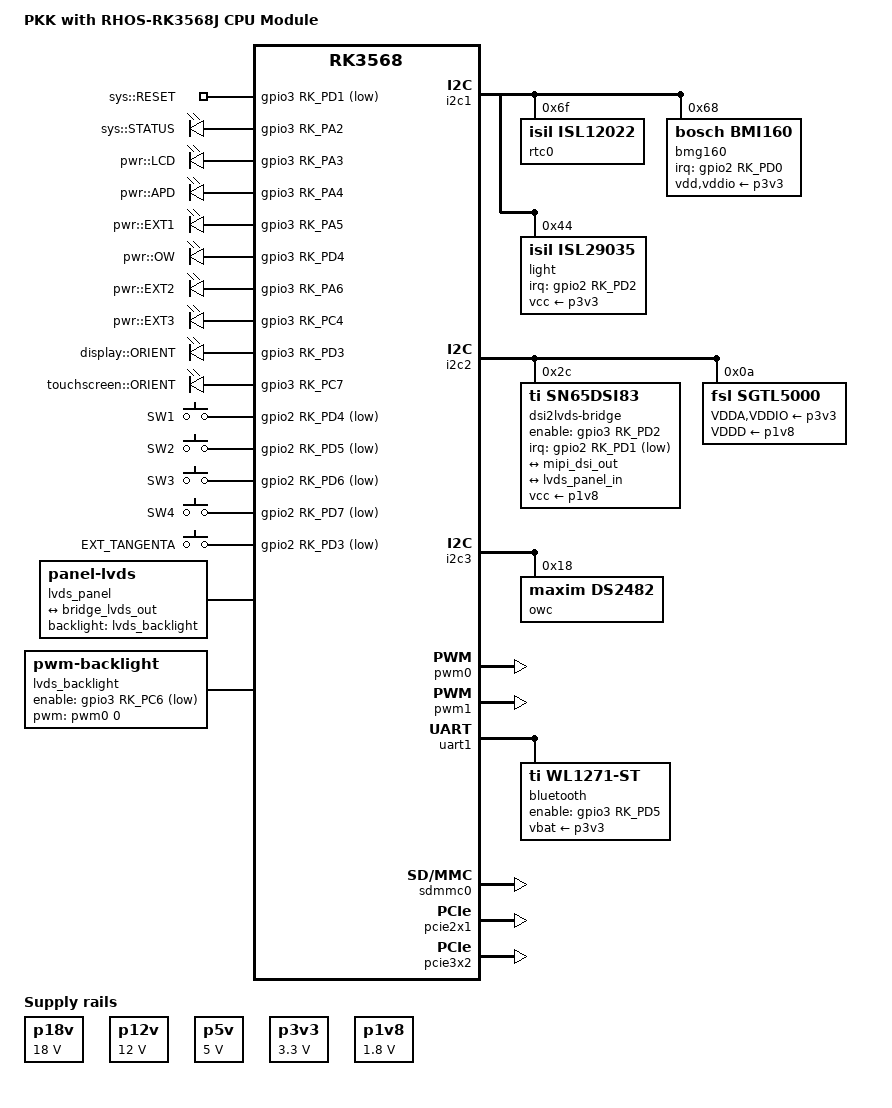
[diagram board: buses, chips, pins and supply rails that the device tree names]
// SPDX-License-Identifier: (GPL-2.0 OR MIT)
/*
 * Copyright (C) 2022 Radioavionica Corp., Alex A. Mihaylov <minimumlaw@rambler.ru>
 */

/dts-v1/;

#include "dt-bindings/input/input.h"
#include "rk3568-rhos.dtsi"

/ {
	model = "PKK with RHOS-RK3568J CPU Module";
	compatible = "ravion,pkk", "ravion,rk3568-rhos", "rockchip,rk3568";

	chosen {
		stdout-path = "serial2:115200n8";
	};

	p18v: regulator-p18v {
		compatible = "regulator-fixed";
		regulator-name = "p18v";
		regulator-min-microvolt = <18000000>;
		regulator-max-microvolt = <18000000>;
		regulator-always-on;
	};

	p12v: regulator-p12v {
		compatible = "regulator-fixed";
		regulator-name = "p12v";
		regulator-min-microvolt = <12000000>;
		regulator-max-microvolt = <12000000>;
		regulator-always-on;
	};

	p5v: regulator-p5v {
		compatible = "regulator-fixed";
		regulator-name = "p5v";
		regulator-min-microvolt = <5000000>;
		regulator-max-microvolt = <5000000>;
		regulator-always-on;
	};

	p3v3: regulator-p3v3 {
		compatible = "regulator-fixed";
		regulator-name = "p3v3";
		regulator-min-microvolt = <3300000>;
		regulator-max-microvolt = <3300000>;
		regulator-always-on;
	};

	p1v8: regulator-p1v8 {
		compatible = "regulator-fixed";
		regulator-name = "p1v8";
		regulator-min-microvolt = <1800000>;
		regulator-max-microvolt = <1800000>;
		regulator-always-on;
	};

	gpio-leds {
		compatible = "gpio-leds";

		sys_rst {
			label = "sys::RESET";
			gpios = <&gpio3 RK_PD1 GPIO_ACTIVE_LOW>;	/* soDimm165 */
			default-state = "off";
		};

		status {
			label = "sys::STATUS";
			gpios = <&gpio3 RK_PA2 GPIO_ACTIVE_HIGH>;	/* soDimm164 */
			default-state = "on";
		};

		pwr_lcd {
			label = "pwr::LCD";
			gpios = <&gpio3 RK_PA3 GPIO_ACTIVE_HIGH>;	/* soDimm166 */
			default-state = "on";
		};

		pwr_apd {
			label = "pwr::APD";
			gpios = <&gpio3 RK_PA4 GPIO_ACTIVE_HIGH>;	/* soDimm168 */
			default-state = "on";
		};

		pwr_ext1 {
			label = "pwr::EXT1";
			gpios = <&gpio3 RK_PA5 GPIO_ACTIVE_HIGH>;	/* soDimm170 */
			default-state = "on";
		};

		pwr_ow {
			label = "pwr::OW";
			gpios = <&gpio3 RK_PD4 GPIO_ACTIVE_HIGH>;	/* soDimm171 */
			default-state = "on";
		};

		pwr_ext2 {
			label = "pwr::EXT2";
			gpios = <&gpio3 RK_PA6 GPIO_ACTIVE_HIGH>;	/* soDimm172 */
			default-state = "on";
		};

		pwr_ext3 {
			label = "pwr::EXT3";
			gpios = <&gpio3 RK_PC4 GPIO_ACTIVE_HIGH>;	/* soDimm174 */
			default-state = "on";
		};

		disp_orient {
			label = "display::ORIENT";
			gpios = <&gpio3 RK_PD3 GPIO_ACTIVE_HIGH>;	/* soDimm169 */
			default-state = "off";
		};

		ts_orient {
			label = "touchscreen::ORIENT";
			gpios = <&gpio3 RK_PC7 GPIO_ACTIVE_HIGH>;	/* soDimm177 */
			default-state = "on";
		};
	};

	gpio-keys {
		compatible = "gpio-keys";

		sw1-key {
			label = "SW1";
			gpios = <&gpio2 RK_PD4 GPIO_ACTIVE_LOW>;	/* soDimm154 */
			linux,code = <KEY_F1>;
			debounce-interval = <25>;
			wakeup-source;
		};

		sw2-key {
			label = "SW2";
			gpios = <&gpio2 RK_PD5 GPIO_ACTIVE_LOW>;	/* soDimm156 */
			linux,code = <KEY_F2>;
			debounce-interval = <25>;
			wakeup-source;
		};

		sw3-key {
			label = "SW3";
			gpios = <&gpio2 RK_PD6 GPIO_ACTIVE_LOW>;	/* soDimm158 */
			linux,code = <KEY_F3>;
			debounce-interval = <25>;
			wakeup-source;
		};

		sw4-key {
			label = "SW4";
			gpios = <&gpio2 RK_PD7 GPIO_ACTIVE_LOW>;	/* soDimm160 */
			linux,code = <KEY_F4>;
			debounce-interval = <25>;
			wakeup-source;
		};

		ext-tng-key {
			label = "EXT_TANGENTA";
			gpios = <&gpio2 RK_PD3 GPIO_ACTIVE_LOW>;	/* soDimm152 */
			linux,code = <KEY_F5>;
			debounce-interval = <25>;
			wakeup-source;
		};
	};

	/* Mitsubishi AA070TA01ADA11 LVDS display panel
	 *********************************************/
	lvds_panel {
		compatible = "panel-lvds";
		backlight = <&lvds_backlight>;
		data-mapping = "jeida-24";

		width-mm = <152>;
		height-mm = <91>;

		/*
		 * FixMe: DENA active high, h(f+b+l)=32, v(f+b+l)=30 @ 62.8MHz by spec,
		 *        but NOT work in out module! Fix polarity and recalculate.
		 */
		panel-timing {
			clock-frequency = <62503680>;
			hactive	= <1280>;
			vactive	= <768>;
			hfront-porch	= <18>;
			hsync-len	= <8>;
			hback-porch	= <6>;
			vfront-porch	= <8>;
			vsync-len	= <9>;
			vback-porch	= <9>;
			de-active	= <0>;
		};

		port {
			lvds_panel_in: endpoint {
				remote-endpoint = <&bridge_lvds_out>;
			};
		};
	};

	lvds_backlight: backlight {
		compatible = "pwm-backlight";
		enable-gpios = <&gpio3 RK_PC6 GPIO_ACTIVE_LOW>;	/* soDimm175 */
		pwms = <&pwm0 0 100000 0>; /* FixMe: frequency !!! */
		brightness-levels = <0 25 51 76 102 127 153 178 204 229 255>;
		default-brightness-level = <8>;
		status = "okay";
	};

	soundcard@0 {
		compatible = "simple-audio-card";
		simple-audio-card,name = "RHOS IMX8MQ SGTL5000";
		simple-audio-card,format = "i2s";
		simple-audio-card,bitclock-master = <&dailink0_master>;
		simple-audio-card,frame-master = <&dailink0_master>;


		simple-audio-card,cpu {
			sound-dai = <&i2s2_2ch 0>;
		};

		dailink0_master:
		simple-audio-card,codec {
			sound-dai = <&sgtl5000 0>;
		};
	};

};

&dsi1_out {
	mipi_dsi_out: endpoint {
		remote-endpoint = <&bridge_dsi_in>;
		clock-lanes = <0>;
		data-lanes = <1 2 3 4>;
	};
};

&i2c1 {
	status = "okay";
	#address-cells = <1>;
	#size-cells = <0>;

	rtc0: rtc@6f { /* ISL12020: I2C Real Time Clock (battery backup) */
		compatible = "isil,isl12022";
		reg = <0x6f>;
	};

	bmg160@68 { /* FixMe: address 0x68 already in use by CPU module clock generator */
		compatible = "bosch,bmi160";
		reg = <0x68>;
		vdd-supply = <&p3v3>;
		vddio-supply = <&p3v3>;
		interrupt-parent = <&gpio2>;
		interrupts = <RK_PD0 (IRQ_TYPE_EDGE_RISING)>;	/* soDimm146 */
		interrupt-names = "INT1";
	};

	light@44 {
		compatible = "isil,isl29035";
		vcc-supply = <&p3v3>;
		reg = <0x44>;
		interrupt-parent = <&gpio2>;
		interrupts = <RK_PD2 (IRQ_TYPE_EDGE_RISING)>;	/* soDimm150 */
	};
};

&i2c2 {
	dsi2lvds-bridge@2c {
		compatible = "ti,sn65dsi83";
		reg = <0x2c>;
		enable-gpios = <&gpio3 RK_PD2 GPIO_ACTIVE_HIGH>;	/* soDimm167 */
		irq-gpios = <&gpio2 RK_PD1 GPIO_ACTIVE_LOW >;		/* soDimm148 <- NOT USED */
		vcc-supply = <&p1v8>;
		status = "okay";

		ports {
			#address-cells = <1>;
			#size-cells = <0>;
			port@0 {
				reg = <0>;
				bridge_dsi_in: endpoint {
					clock-lanes = <0>;
					data-lanes = <1 2 3 4>;
					remote-endpoint = <&mipi_dsi_out>;
				};
			};

			port@2 {
				reg = <2>;
				bridge_lvds_out: endpoint {
					remote-endpoint = <&lvds_panel_in>;
				};
			};
		};
	};

	sgtl5000: codec@a {
		compatible = "fsl,sgtl5000";
		reg = <0xa>;
		#sound-dai-cells = <0>;
		pinctrl-names = "default";
		pinctrl-0 = <&refclk_pins>;	/* soDimm140 and soDimm142 as MCLK - 24MHz default */
		clocks = <&pmucru CLK_WIFI>;
		VDDA-supply = <&p3v3>;		/* +3.3VA is drosseled +3.3V */
		VDDIO-supply = <&p3v3>;
		VDDD-supply = <&p1v8>;
		status = "okay";
	};
};


&i2c3 {
	owc: ds2482@18 { /* DS2484: I2C to OneWire Converter */
		status = "okay";
		compatible = "maxim,ds2482";
		reg = <0x18>;
	};
};

/* PWMs
 *****/
&pwm0 {		status = "okay";	};
&pwm1 {		status = "okay";	};

/* Bluetooth interface
 ********************/
&uart1 {
	status = "okay";

	bluetooth { /* DD19: CC2564CRVM - XP36 setup, or COM3 connector */
		compatible = "ti,wl1271-st";
		enable-gpios = <&gpio3 RK_PD5 GPIO_ACTIVE_HIGH>;	/* soDimm173 */
		vbat-supply = <&p3v3>;
		clocks = <&clk_32k_bt 0>;
		clock-names = "ext_clock";
		max-speed = <3686400>;
		current-speed = <115200>;
		status = "okay";

		clk_32k_bt: bt_clk {
			compatible = "fixed-clock";
			#clock-cells = <0>;
			clock-frequency = <32768>;
			clock-accuracy = <100>;
		};
	};
};

/* MicroSD card slot
 ******************/
&sdmmc0 {	status = "okay";	};

/* PCIe M.2 slot
 **************/
&pcie2x1 {	status = "okay";	};

/* PCIe 4x slot
 *************/
&pcie3x2 {	status = "okay";	};
